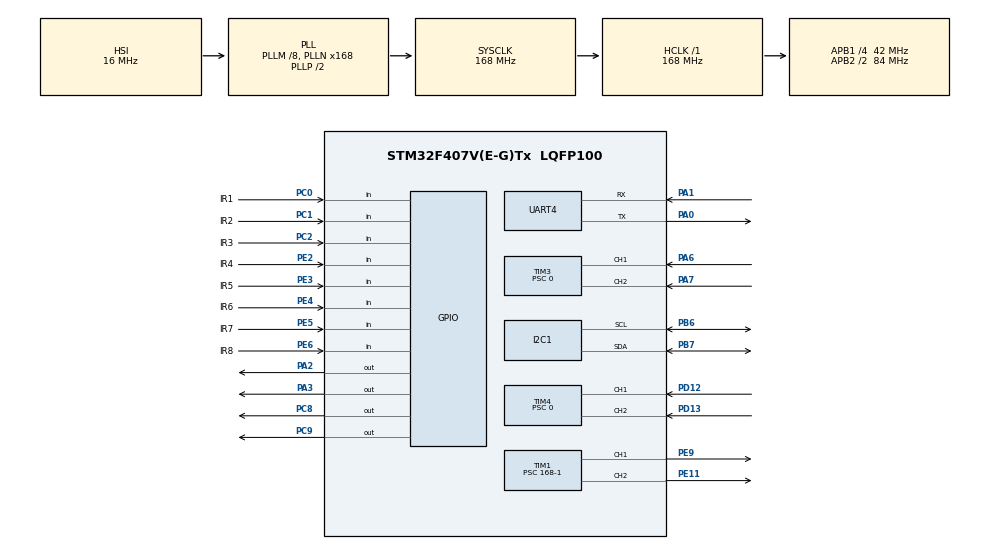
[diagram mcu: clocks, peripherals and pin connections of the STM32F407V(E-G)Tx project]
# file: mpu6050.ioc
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Dma.Request0=UART4_RX
Dma.Request1=UART4_TX
Dma.UART4_RX.0.Direction=DMA_PERIPH_TO_MEMORY
Dma.UART4_RX.0.FIFOMode=DMA_FIFOMODE_DISABLE
Dma.UART4_RX.0.Instance=DMA1_Stream2
Dma.UART4_RX.0.MemDataAlignment=DMA_MDATAALIGN_BYTE
Dma.UART4_RX.0.MemInc=DMA_MINC_ENABLE
Dma.UART4_RX.0.Mode=DMA_NORMAL
Dma.UART4_RX.0.PeriphDataAlignment=DMA_PDATAALIGN_BYTE
Dma.UART4_RX.0.PeriphInc=DMA_PINC_DISABLE
Dma.UART4_RX.0.Priority=DMA_PRIORITY_LOW
Dma.UART4_TX.1.Direction=DMA_MEMORY_TO_PERIPH
Dma.UART4_TX.1.FIFOMode=DMA_FIFOMODE_DISABLE
Dma.UART4_TX.1.Instance=DMA1_Stream4
Dma.UART4_TX.1.MemDataAlignment=DMA_MDATAALIGN_BYTE
Dma.UART4_TX.1.MemInc=DMA_MINC_ENABLE
Dma.UART4_TX.1.Mode=DMA_CIRCULAR
Dma.UART4_TX.1.PeriphDataAlignment=DMA_PDATAALIGN_BYTE
Dma.UART4_TX.1.PeriphInc=DMA_PINC_DISABLE
Dma.UART4_TX.1.Priority=DMA_PRIORITY_LOW
I2C1.NoStretchMode=I2C_NOSTRETCH_DISABLE
Mcu.Family=STM32F4
Mcu.Name=STM32F407V(E-G)Tx
Mcu.Package=LQFP100
NVIC.DMA1_Stream2_IRQn=true\:0\:0\:false\:false\:true\:false\:true\:true
NVIC.DMA1_Stream4_IRQn=true\:0\:0\:false\:false\:true\:false\:true\:true
NVIC.I2C1_ER_IRQn=true\:0\:0\:false\:false\:true\:true\:true\:true
NVIC.I2C1_EV_IRQn=true\:0\:0\:false\:false\:true\:true\:true\:true
NVIC.PriorityGroup=NVIC_PRIORITYGROUP_4
NVIC.TIM1_UP_TIM10_IRQn=true\:3\:0\:true\:false\:true\:true\:true\:true
NVIC.TIM2_IRQn=true\:2\:0\:true\:false\:true\:true\:true\:true
NVIC.TIM3_IRQn=true\:1\:0\:true\:false\:true\:true\:true\:true
NVIC.TIM4_IRQn=true\:0\:0\:true\:false\:true\:true\:true\:true
NVIC.UART4_IRQn=true\:0\:0\:false\:false\:true\:true\:true\:true
PA0-WKUP.Mode=Asynchronous
PA0-WKUP.Signal=UART4_TX
PA1.Mode=Asynchronous
PA1.Signal=UART4_RX
PA13.Mode=Serial_Wire
PA13.Signal=SYS_JTMS-SWDIO
PA14.Mode=Serial_Wire
PA14.Signal=SYS_JTCK-SWCLK
PA2.PinState=GPIO_PIN_SET
PA2.Signal=GPIO_Output
PA3.PinState=GPIO_PIN_SET
PA3.Signal=GPIO_Output
PA6.Signal=S_TIM3_CH1
PA7.Signal=S_TIM3_CH2
PB6.Mode=I2C
PB6.Signal=I2C1_SCL
PB7.Mode=I2C
PB7.Signal=I2C1_SDA
PC0.GPIO_Label=IR1
PC0.Signal=GPIO_Input
PC1.GPIO_Label=IR2
PC1.Signal=GPIO_Input
PC2.GPIO_Label=IR3
PC2.Signal=GPIO_Input
PC8.PinState=GPIO_PIN_SET
PC8.Signal=GPIO_Output
PC9.PinState=GPIO_PIN_SET
PC9.Signal=GPIO_Output
PD12.Signal=S_TIM4_CH1
PD13.Signal=S_TIM4_CH2
PE11.Signal=S_TIM1_CH2
PE2.GPIO_Label=IR4
PE2.Signal=GPIO_Input
PE3.GPIO_Label=IR5
PE3.Signal=GPIO_Input
PE4.GPIO_Label=IR6
PE4.Signal=GPIO_Input
PE5.GPIO_Label=IR7
PE5.Signal=GPIO_Input
PE6.GPIO_Label=IR8
PE6.Signal=GPIO_Input
PE9.Signal=S_TIM1_CH1
PH0-OSC_IN.Mode=HSE-External-Oscillator
PH0-OSC_IN.Signal=RCC_OSC_IN
PH1-OSC_OUT.Mode=HSE-External-Oscillator
PH1-OSC_OUT.Signal=RCC_OSC_OUT
ProjectManager.HeapSize=0x200
ProjectManager.StackSize=0x400
ProjectManager.TargetToolchain=CMake
RCC.48MHZClocksFreq_Value=84000000
RCC.AHBFreq_Value=168000000
RCC.APB1CLKDivider=RCC_HCLK_DIV4
RCC.APB1Freq_Value=42000000
RCC.APB1TimFreq_Value=84000000
RCC.APB2CLKDivider=RCC_HCLK_DIV2
RCC.APB2Freq_Value=84000000
RCC.APB2TimFreq_Value=168000000
RCC.CortexFreq_Value=168000000
RCC.HCLKFreq_Value=168000000
RCC.HSE_VALUE=25000000
RCC.HSI_VALUE=16000000
RCC.LSE_VALUE=32768
RCC.PLLM=8
RCC.PLLN=168
RCC.SYSCLKFreq_VALUE=168000000
RCC.SYSCLKSource=RCC_SYSCLKSOURCE_PLLCLK
RCC.VCOOutputFreq_Value=336000000
SH.S_TIM1_CH1.0=TIM1_CH1,PWM Generation1 CH1
SH.S_TIM1_CH2.0=TIM1_CH2,PWM Generation2 CH2
SH.S_TIM3_CH1.0=TIM3_CH1,Encoder_Interface
SH.S_TIM3_CH2.0=TIM3_CH2,Encoder_Interface
SH.S_TIM4_CH1.0=TIM4_CH1,Encoder_Interface
SH.S_TIM4_CH2.0=TIM4_CH2,Encoder_Interface
TIM1.Channel-PWM\ Generation1\ CH1=TIM_CHANNEL_1
TIM1.Channel-PWM\ Generation2\ CH2=TIM_CHANNEL_2
TIM1.Period=1000-1
TIM1.Prescaler=168-1
TIM2.Period=100000-1
TIM2.Prescaler=168-1
TIM3.CounterMode=TIM_COUNTERMODE_UP
TIM3.EncoderMode=TIM_ENCODERMODE_TI12
TIM3.IC1Filter=15
TIM3.IC1Polarity=TIM_ICPOLARITY_FALLING
TIM3.IC2Filter=15
TIM3.Period=20000-1
TIM3.Prescaler=0
TIM4.CounterMode=TIM_COUNTERMODE_UP
TIM4.EncoderMode=TIM_ENCODERMODE_TI12
TIM4.IC1Filter=15
TIM4.IC1Polarity=TIM_ICPOLARITY_FALLING
TIM4.IC2Filter=15
TIM4.Period=20000-1
TIM4.Prescaler=0
UART4.VirtualMode=Asynchronous
VP_TIM10_VS_ClockSourceINT.Mode=Enable_Timer
VP_TIM1_VS_ClockSourceINT.Mode=Internal
VP_TIM2_VS_ClockSourceINT.Mode=Internal
board=custom

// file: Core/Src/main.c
/* USER CODE BEGIN Header */
/**
  ******************************************************************************
  * @file           : main.c
  * @brief          : Main program body
  ******************************************************************************
  * @attention
  *
  * Copyright (c) 2026 STMicroelectronics.
  * All rights reserved.
  *
  * This software is licensed under terms that can be found in the LICENSE file
  * in the root directory of this software component.
  * If no LICENSE file comes with this software, it is provided AS-IS.
  *
  ******************************************************************************
  */
/* USER CODE END Header */
#include "main.h"
#include "dma.h"
#include "i2c.h"
#include "tim.h"
#include "usart.h"
#include "gpio.h"

/* USER CODE BEGIN Includes */
#include <stdlib.h>
#include "ENCOUNT.h"
/* USER CODE END Includes */

/* USER CODE BEGIN PD */
#define wheel 0.048
#define PI 3.1416

/* USER CODE END PD */

/* USER CODE BEGIN PV */
// int count1;
// int count2;
float SPEED1;
float SPEED2;
encoder CODER1;
encoder CODER2;
/* USER CODE END PV */

void SystemClock_Config(void);

int main(void)
{

  /* MCU Configuration--------------------------------------------------------*/

  /* Reset of all peripherals, Initializes the Flash interface and the Systick. */
  HAL_Init();

  /* Configure the system clock */
  SystemClock_Config();

  /* Initialize all configured peripherals */
  MX_GPIO_Init();
  MX_DMA_Init();
  MX_I2C1_Init();
  MX_UART4_Init();
  MX_TIM1_Init();
  MX_TIM3_Init();
  MX_TIM4_Init();
  MX_TIM2_Init();
  MX_TIM10_Init();
  /* USER CODE BEGIN 2 */
  ENCOUNT_INIT(&CODER1,&CODER2);
  /* USER CODE END 2 */

  /* Infinite loop */
  while (1)
  {

    /* USER CODE BEGIN 3 */
     HAL_GPIO_WritePin(GPIOA,GPIO_PIN_2,GPIO_PIN_SET );
     HAL_GPIO_WritePin(GPIOA,GPIO_PIN_3,GPIO_PIN_RESET);
     HAL_GPIO_WritePin(GPIOC,GPIO_PIN_8,GPIO_PIN_SET);
     HAL_GPIO_WritePin(GPIOC,GPIO_PIN_9,GPIO_PIN_RESET);
     __HAL_TIM_SET_COMPARE(&htim1,TIM_CHANNEL_1,350);
     __HAL_TIM_SET_COMPARE(&htim1,TIM_CHANNEL_2,350);
  }
  /* USER CODE END 3 */
}

void SystemClock_Config(void)
{
  RCC_OscInitTypeDef RCC_OscInitStruct = {0};
  RCC_ClkInitTypeDef RCC_ClkInitStruct = {0};

  /** Configure the main internal regulator output voltage
  */
  __HAL_RCC_PWR_CLK_ENABLE();
  __HAL_PWR_VOLTAGESCALING_CONFIG(PWR_REGULATOR_VOLTAGE_SCALE1);

  /** Initializes the RCC Oscillators according to the specified parameters
  * in the RCC_OscInitTypeDef structure.
  */
  RCC_OscInitStruct.OscillatorType = RCC_OSCILLATORTYPE_HSI;
  RCC_OscInitStruct.HSIState = RCC_HSI_ON;
  RCC_OscInitStruct.HSICalibrationValue = RCC_HSICALIBRATION_DEFAULT;
  RCC_OscInitStruct.PLL.PLLState = RCC_PLL_ON;
  RCC_OscInitStruct.PLL.PLLSource = RCC_PLLSOURCE_HSI;
  RCC_OscInitStruct.PLL.PLLM = 8;
  RCC_OscInitStruct.PLL.PLLN = 168;
  RCC_OscInitStruct.PLL.PLLP = RCC_PLLP_DIV2;
  RCC_OscInitStruct.PLL.PLLQ = 4;
  if (HAL_RCC_OscConfig(&RCC_OscInitStruct) != HAL_OK)
  {
    Error_Handler();
  }

  /** Initializes the CPU, AHB and APB buses clocks
  */
  RCC_ClkInitStruct.ClockType = RCC_CLOCKTYPE_HCLK|RCC_CLOCKTYPE_SYSCLK
                              |RCC_CLOCKTYPE_PCLK1|RCC_CLOCKTYPE_PCLK2;
  RCC_ClkInitStruct.SYSCLKSource = RCC_SYSCLKSOURCE_PLLCLK;
  RCC_ClkInitStruct.AHBCLKDivider = RCC_SYSCLK_DIV1;
  RCC_ClkInitStruct.APB1CLKDivider = RCC_HCLK_DIV4;
  RCC_ClkInitStruct.APB2CLKDivider = RCC_HCLK_DIV2;

  if (HAL_RCC_ClockConfig(&RCC_ClkInitStruct, FLASH_LATENCY_5) != HAL_OK)
  {
    Error_Handler();
  }
}

/* USER CODE BEGIN 4 */
void HAL_TIM_PeriodElapsedCallback(TIM_HandleTypeDef *htim) {
 if (htim->Instance == TIM2) {
    // count1 = __HAL_TIM_GetCounter(&htim3);
    // count2 = __HAL_TIM_GetCounter(&htim4);
    SPEED1 = Speed_calculate(0.1,4,13,20,PI * wheel,&CODER1,&htim3);
    SPEED2 = Speed_calculate(0.1,4,13,20,PI * wheel,&CODER2,&htim4);
  }
}

/* USER CODE END 4 */

void Error_Handler(void)
{
  __disable_irq();
  while (1)
  {
  }
}
